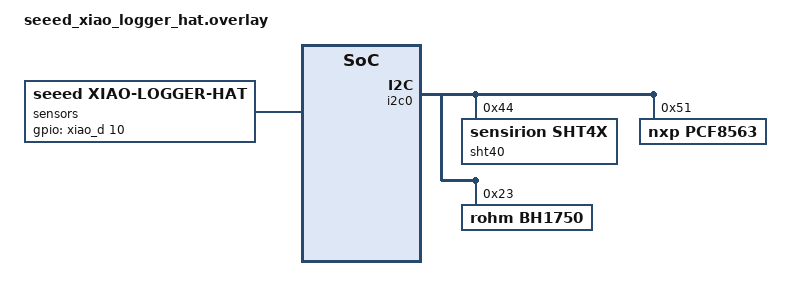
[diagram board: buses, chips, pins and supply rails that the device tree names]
/*
 * SPDX-FileCopyrightText: Copyright The Zephyr Project Contributors
 * SPDX-License-Identifier: Apache-2.0
 */

#include <zephyr/dt-bindings/gpio/gpio.h>

/ {
	aliases {
		rtc = &bh1750;
		enable-sensors = &sensors;
	}

	sensors: sensors {
		compatible = "seeed,xiao-logger-hat";
		gpios = <&xiao_d 10 GPIO_ACTIVE_HIGH>;
	};
};

&i2c0 {
	status = "okay";

	sht40: sht40@44 {
		compatible = "sensirion,sht4x";
		repeatability = <1>;
		reg = <0x44>;
	};

	pcf8563: pcf8563@51 {
		compatible = "nxp,pcf8563";
		reg = <0x51>;
	};

	bh1750: bh1750@23 {
		compatible = "rohm,bh1750";
		reg = <0x23>;
	};
};
